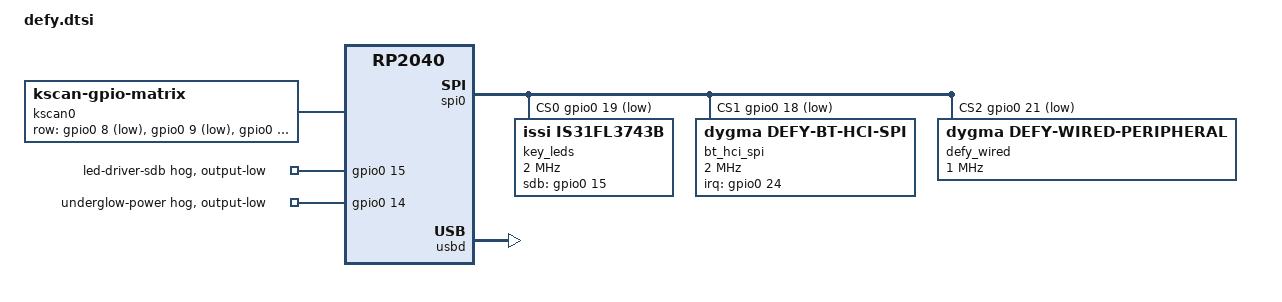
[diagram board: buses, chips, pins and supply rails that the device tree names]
/*
 * Devicetree shared by both halves' RP2040 main boards. The half's own USB
 * port is untested.
 *
 * SPDX-License-Identifier: MIT
 */

#include <raspberrypi/rpi_pico/rp2040.dtsi>
#include <arm/raspberrypi/rp2040-boot-mode-retention.dtsi>
#include <freq.h>
#include <zephyr/dt-bindings/gpio/gpio.h>
#include <zephyr/dt-bindings/led/led.h>

#include "defy-key-leds.h"
#include "defy-pinctrl.dtsi"
#include "defy-layouts.dtsi"

#define DEFY_UNDERGLOW_LED_COUNT 53

/ {
    chosen {
        zephyr,sram = &sram0;
        zephyr,flash = &flash0;
        zephyr,flash-controller = &ssi;
        zephyr,code-partition = &code_partition;
        zmk,kscan = &kscan0;
        zmk,physical-layout = &defy_layout;
        zephyr,bt-hci = &bt_hci_spi;
        zephyr,entropy = &bt_hci_entropy;
    };

    /* Random numbers from the nRF52820's controller; the RP2040 has no TRNG. */
    bt_hci_entropy: bt-hci-entropy {
        compatible = "zephyr,bt-hci-entropy";
    };

    /*
     * Lines 0-4 on GPIO 8-12 are driven low one at a time. Inputs on GPIO 0-7
     * have pull-ups and read low when pressed. The halves list the inputs in
     * different orders, so col-gpios is set in each half's .dts.
     */
    kscan0: kscan {
        compatible = "zmk,kscan-gpio-matrix";
        wakeup-source;
        diode-direction = "row2col";
        row-gpios
            = <&gpio0 8 GPIO_ACTIVE_LOW>
            , <&gpio0 9 GPIO_ACTIVE_LOW>
            , <&gpio0 10 GPIO_ACTIVE_LOW>
            , <&gpio0 11 GPIO_ACTIVE_LOW>
            , <&gpio0 12 GPIO_ACTIVE_LOW>
            ;
    };

    /*
     * Per-key LEDs, then underglow, as one strip. The driver also switches
     * UG_EN and inverts the underglow data line.
     */
    defy_leds: defy_leds {
        compatible = "dygma,defy-leds";
        chain-length = <(DEFY_KEY_LED_COUNT + DEFY_UNDERGLOW_LED_COUNT)>;
        key-leds = <&key_leds>;
        underglow = <&underglow>;
        underglow-power-gpios = <&gpio0 14 GPIO_ACTIVE_HIGH>;
        underglow-inverted;
    };
};

&flash0 {
    /* ZB25VQ16, 2 MiB */
    reg = <0x10000000 DT_SIZE_M(2)>;

    partitions {
        compatible = "fixed-partitions";
        #address-cells = <1>;
        #size-cells = <1>;

        factory_bootloader: partition@0 {
            reg = <0x0 0x5000>;
            read-only;
        };

        factory_seal: partition@5000 {
            reg = <0x5000 0x1100>;
            read-only;
        };

        code_partition: partition@6100 {
            reg = <0x6100 (0x1c0000 - 0x6100)>;
            read-only;
        };

        storage_partition: partition@1c0000 {
            reg = <0x1c0000 DT_SIZE_K(256)>;
        };
    };
};

&gpio0 {
    status = "okay";

    /*
     * IS31FL3743B SDB. Low keeps the per-key LED driver in hardware shutdown.
     * The hog covers builds without the LED strip driver; with it, the driver
     * takes the pin over and keeps it low until an LED is lit.
     */
    led-driver-sdb {
        gpio-hog;
        gpios = <15 GPIO_ACTIVE_HIGH>;
        output-low;
    };

    /*
     * UG_EN. Low keeps the underglow chain unpowered. As with SDB, defy_leds
     * takes the pin over when built.
     */
    underglow-power {
        gpio-hog;
        gpios = <14 GPIO_ACTIVE_HIGH>;
        output-low;
    };
};

&spi0 {
    status = "okay";
    pinctrl-0 = <&spi0_default>;
    pinctrl-names = "default";

    /*
     * Chip selects: 0 the IS31FL3743B (GPIO19), 1 the nRF52820 (GPIO18), 2 the
     * cable to the Neuron (GPIO21). The SPI driver drives all three inactive
     * when it initialises.
     */
    cs-gpios = <&gpio0 19 GPIO_ACTIVE_LOW>,
               <&gpio0 18 GPIO_ACTIVE_LOW>,
               <&gpio0 21 GPIO_ACTIVE_LOW>;

    /* Per-key LEDs: four channels each, R, G, B, W in CS order. */
    key_leds: is31fl3743b@0 {
        compatible = "issi,is31fl3743b";
        reg = <0>;
        spi-max-frequency = <DT_FREQ_M(2)>;
        sdb-gpios = <&gpio0 15 GPIO_ACTIVE_HIGH>;
        chain-length = <DEFY_KEY_LED_COUNT>;
        color-mapping = <LED_COLOR_ID_RED LED_COLOR_ID_GREEN LED_COLOR_ID_BLUE LED_COLOR_ID_WHITE>;
        pwm-registers = DEFY_KEY_LED_PWM_REGISTERS;
    };

    /*
     * The nRF52820 on the RF board, running apps/defy_radio's HCI controller.
     * Data ready comes in on GPIO24. There is no reset line; the driver
     * restarts the radio over SPI.
     */
    bt_hci_spi: bt-hci@1 {
        compatible = "dygma,defy-bt-hci-spi";
        reg = <1>;
        spi-max-frequency = <DT_FREQ_M(2)>;
        irq-gpios = <&gpio0 24 (GPIO_ACTIVE_HIGH | GPIO_PULL_DOWN)>;
    };

    /* The cable to the Neuron, the SPI slave. Each half's .dts sets half-id. */
    defy_wired: wired@2 {
        compatible = "dygma,defy-wired-peripheral";
        reg = <2>;
        spi-max-frequency = <DT_FREQ_M(1)>;
    };
};

/*
 * Underglow: SK6812-type RGBW LEDs on GPIO13 from PIO0, with the stock
 * firmware's timing: 1.25 us per bit in 125 ns cycles, high for 250 ns for a 0
 * and 875 ns for a 1. Wire order G, R, B, W.
 */
&pio0 {
    status = "okay";

    pio-ws2812 {
        compatible = "dygma,ws2812-rpi-pico-pio";
        pinctrl-0 = <&underglow_default>;
        pinctrl-names = "default";
        bit-waveform = <2>, <5>, <3>;

        underglow: underglow {
            gpios = <&gpio0 13 GPIO_ACTIVE_HIGH>;
            chain-length = <DEFY_UNDERGLOW_LED_COUNT>;
            color-mapping = <LED_COLOR_ID_GREEN LED_COLOR_ID_RED LED_COLOR_ID_BLUE LED_COLOR_ID_WHITE>;
            reset-delay = <280>;
            frequency = <800000>;
        };
    };
};

zephyr_udc0: &usbd {
    status = "okay";
};
